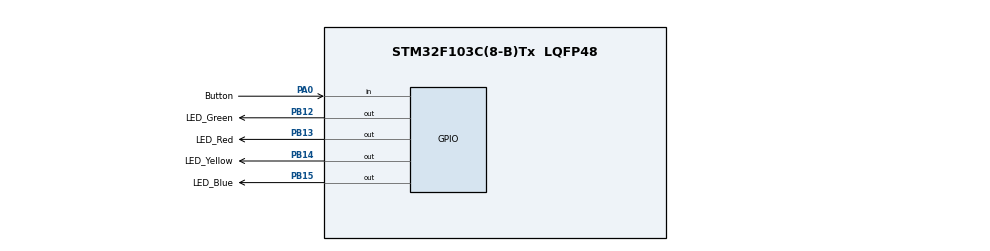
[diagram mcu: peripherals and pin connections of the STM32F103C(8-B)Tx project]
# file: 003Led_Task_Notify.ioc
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Mcu.Family=STM32F1
Mcu.Name=STM32F103C(8-B)Tx
Mcu.Package=LQFP48
NVIC.PriorityGroup=NVIC_PRIORITYGROUP_4
NVIC.TIM1_UP_IRQn=true\:15\:0\:false\:false\:true\:false\:true
NVIC.TimeBase=TIM1_UP_IRQn
NVIC.TimeBaseIP=TIM1
PA0-WKUP.GPIO_Label=Button
PA0-WKUP.GPIO_PuPd=GPIO_PULLUP
PA0-WKUP.Signal=GPIO_Input
PA13.Mode=Serial_Wire
PA13.Signal=SYS_JTMS-SWDIO
PA14.Mode=Serial_Wire
PA14.Signal=SYS_JTCK-SWCLK
PB12.GPIO_Label=LED_Green
PB12.Signal=GPIO_Output
PB13.GPIO_Label=LED_Red
PB13.Signal=GPIO_Output
PB14.GPIO_Label=LED_Yellow
PB14.Signal=GPIO_Output
PB15.GPIO_Label=LED_Blue
PB15.Signal=GPIO_Output
ProjectManager.HeapSize=0x200
ProjectManager.StackSize=0x400
ProjectManager.TargetToolchain=STM32CubeIDE
RCC.APB1Freq_Value=8000000
RCC.APB2Freq_Value=8000000
VP_SYS_VS_tim1.Mode=TIM1
board=custom

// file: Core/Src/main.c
/* USER CODE BEGIN Header */
/**
 ******************************************************************************
 * @file           : main.c
 * @brief          : Main program body
 ******************************************************************************
 * @attention
 *
 * Copyright (c) 2022 STMicroelectronics.
 * All rights reserved.
 *
 * This software is licensed under terms that can be found in the LICENSE file
 * in the root directory of this software component.
 * If no LICENSE file comes with this software, it is provided AS-IS.
 *
 ******************************************************************************
 */
/* USER CODE END Header */
#include "main.h"

/* USER CODE BEGIN PV */

TaskHandle_t ledG_handle, ledR_handle, ledY_handle, ledB_handle, btn_handle;
TaskHandle_t volatile nxt_task_handle = NULL;
BaseType_t status;
/* USER CODE END PV */

void SystemClock_Config(void);
static void MX_GPIO_Init(void);
/* USER CODE BEGIN PFP */
void ledRed_handler(void *pvParameters);
void ledBlue_handler(void *pvParameters);
void ledYellow_handler(void *pvParameters);
void ledGreen_handler(void *pvParameters);

void button_handler(void *pvParameters);

/* USER CODE END PFP */

int main(void)
{

	/* MCU Configuration--------------------------------------------------------*/

	/* Reset of all peripherals, Initializes the Flash interface and the Systick. */
	HAL_Init();

	/* Configure the system clock */
	SystemClock_Config();

	/* Initialize all configured peripherals */
	MX_GPIO_Init();
	/* USER CODE BEGIN 2 */
	DWT_CTRL |= (1 << 0);

	status = xTaskCreate(ledGreen_handler, "LED_Green_Task", 50, NULL, 4, &ledG_handle);

	configASSERT(status == pdPASS);

	nxt_task_handle = ledG_handle;

	status = xTaskCreate(ledYellow_handler, "LED_Yellow_Task", 50, NULL, 3, &ledY_handle);

	configASSERT(status == pdPASS);

	status = xTaskCreate(ledRed_handler, "LED_Red_Task", 50, NULL, 2, &ledR_handle);

	configASSERT(status == pdPASS);

	status = xTaskCreate(ledBlue_handler, "LED_Blue_Task", 50, NULL, 1, &ledB_handle);

	configASSERT(status == pdPASS);

	status = xTaskCreate(button_handler, "Button_Task", 50, NULL, 5, &btn_handle);

	configASSERT(status == pdPASS);

	vTaskStartScheduler();
	/* USER CODE END 2 */

	/* Infinite loop */
	while (1)
	{

	}
}

void SystemClock_Config(void)
{
	RCC_OscInitTypeDef RCC_OscInitStruct = {0};
	RCC_ClkInitTypeDef RCC_ClkInitStruct = {0};

	/** Initializes the RCC Oscillators according to the specified parameters
	 * in the RCC_OscInitTypeDef structure.
	 */
	RCC_OscInitStruct.OscillatorType = RCC_OSCILLATORTYPE_HSI;
	RCC_OscInitStruct.HSIState = RCC_HSI_ON;
	RCC_OscInitStruct.HSICalibrationValue = RCC_HSICALIBRATION_DEFAULT;
	RCC_OscInitStruct.PLL.PLLState = RCC_PLL_NONE;
	if (HAL_RCC_OscConfig(&RCC_OscInitStruct) != HAL_OK)
	{
		Error_Handler();
	}
	/** Initializes the CPU, AHB and APB buses clocks
	 */
	RCC_ClkInitStruct.ClockType = RCC_CLOCKTYPE_HCLK|RCC_CLOCKTYPE_SYSCLK
			|RCC_CLOCKTYPE_PCLK1|RCC_CLOCKTYPE_PCLK2;
	RCC_ClkInitStruct.SYSCLKSource = RCC_SYSCLKSOURCE_HSI;
	RCC_ClkInitStruct.AHBCLKDivider = RCC_SYSCLK_DIV1;
	RCC_ClkInitStruct.APB1CLKDivider = RCC_HCLK_DIV1;
	RCC_ClkInitStruct.APB2CLKDivider = RCC_HCLK_DIV1;

	if (HAL_RCC_ClockConfig(&RCC_ClkInitStruct, FLASH_LATENCY_0) != HAL_OK)
	{
		Error_Handler();
	}
}

static void MX_GPIO_Init(void)
{
	GPIO_InitTypeDef GPIO_InitStruct = {0};

	/* GPIO Ports Clock Enable */
	__HAL_RCC_GPIOA_CLK_ENABLE();
	__HAL_RCC_GPIOB_CLK_ENABLE();

	/*Configure GPIO pin Output Level */
	HAL_GPIO_WritePin(GPIOB, LED_Green_Pin|LED_Red_Pin|LED_Yellow_Pin|LED_Blue_Pin, GPIO_PIN_RESET);

	/*Configure GPIO pin : Button_Pin */
	GPIO_InitStruct.Pin = Button_Pin;
	GPIO_InitStruct.Mode = GPIO_MODE_INPUT;
	GPIO_InitStruct.Pull = GPIO_PULLUP;
	HAL_GPIO_Init(Button_GPIO_Port, &GPIO_InitStruct);

	/*Configure GPIO pins : LED_Green_Pin LED_Red_Pin LED_Yellow_Pin LED_Blue_Pin */
	GPIO_InitStruct.Pin = LED_Green_Pin|LED_Red_Pin|LED_Yellow_Pin|LED_Blue_Pin;
	GPIO_InitStruct.Mode = GPIO_MODE_OUTPUT_PP;
	GPIO_InitStruct.Pull = GPIO_NOPULL;
	GPIO_InitStruct.Speed = GPIO_SPEED_FREQ_LOW;
	HAL_GPIO_Init(GPIOB, &GPIO_InitStruct);

}

/* USER CODE BEGIN 4 */
void ledGreen_handler(void *pvParameters){

	//TickType_t delay = pdMS_TO_TICKS(1200), initTask = xTaskGetTickCount();
	BaseType_t status;
	while(1){

		HAL_GPIO_TogglePin(LED_Green_GPIO_Port, LED_Green_Pin);
		//HAL_Delay(1000);
		//vTaskDelay(delay);
		//vTaskDelayUntil(&initTask, delay);
		status = xTaskNotifyWait(0, 0, NULL, pdMS_TO_TICKS(1200));
		if(status == pdTRUE){
			vTaskSuspendAll();
			nxt_task_handle = ledR_handle;
			xTaskResumeAll();
			HAL_GPIO_WritePin(LED_Green_GPIO_Port, LED_Green_Pin, GPIO_PIN_SET);
			vTaskDelete(NULL);
		}
	}

}
void ledYellow_handler(void *pvParameters){

	//TickType_t delay = pdMS_TO_TICKS(900), initTask = xTaskGetTickCount();
	BaseType_t status;
	while(1){

		HAL_GPIO_TogglePin(LED_Yellow_GPIO_Port, LED_Yellow_Pin);
		//HAL_Delay(800);
		//vTaskDelay(delay);
		//vTaskDelayUntil(&initTask, delay);
		status = xTaskNotifyWait(0, 0, NULL, pdMS_TO_TICKS(900));
		if(status == pdTRUE){
			vTaskSuspendAll();
			nxt_task_handle = ledB_handle;
			xTaskResumeAll();
			HAL_GPIO_WritePin(LED_Yellow_GPIO_Port, LED_Yellow_Pin, GPIO_PIN_SET);
			vTaskDelete(NULL);
		}
	}
}
void ledRed_handler(void *pvParameters){

	//TickType_t delay = pdMS_TO_TICKS(600), initTask = xTaskGetTickCount();
	BaseType_t status;
	while(1){
		//SEGGER_SYSVIEW_PrintfTarget("teste");

		HAL_GPIO_TogglePin(LED_Red_GPIO_Port, LED_Red_Pin);
		//HAL_Delay(400);
		//vTaskDelay(delay);
		//vTaskDelayUntil(&initTask, delay);
		status = xTaskNotifyWait(0, 0, NULL, pdMS_TO_TICKS(600));
		if(status == pdTRUE){
			vTaskSuspendAll();
			nxt_task_handle = ledY_handle;
			xTaskResumeAll();
			HAL_GPIO_WritePin(LED_Red_GPIO_Port, LED_Red_Pin, GPIO_PIN_SET);
			vTaskDelete(NULL);
		}
	}
}
void ledBlue_handler(void *pvParameters){

	//TickType_t delay = pdMS_TO_TICKS(300), initTask = xTaskGetTickCount();
	BaseType_t status;
	while(1){
		//SEGGER_SYSVIEW_PrintfTarget("teste");
		HAL_GPIO_TogglePin(LED_Blue_GPIO_Port, LED_Blue_Pin);
		//HAL_Delay(400);
		//vTaskDelay(delay);
		//vTaskDelayUntil(&initTask, delay);
		status = xTaskNotifyWait(0, 0, NULL, pdMS_TO_TICKS(300));
		if(status == pdTRUE){
			vTaskSuspendAll();
			nxt_task_handle = NULL;
			xTaskResumeAll();
			HAL_GPIO_WritePin(LED_Blue_GPIO_Port, LED_Blue_Pin, GPIO_PIN_SET);
			vTaskDelete(btn_handle);
			vTaskDelete(NULL);
		}
	}
}
void button_handler(void *pvParameters){

	uint8_t btn_read = 0;
	uint8_t prev_read = 1;
	while(1){

		btn_read = HAL_GPIO_ReadPin(Button_GPIO_Port, Button_Pin);

		if(btn_read){
			if( ! prev_read)
				xTaskNotify(nxt_task_handle, 0, eNoAction);
		}
		prev_read = btn_read;
		vTaskDelay(pdMS_TO_TICKS(10));

	}
}
/* USER CODE END 4 */

void HAL_TIM_PeriodElapsedCallback(TIM_HandleTypeDef *htim)
{
	if (htim->Instance == TIM1) {
		HAL_IncTick();
	}
}

void Error_Handler(void)
{
	__disable_irq();
	while (1)
	{
	}
}
